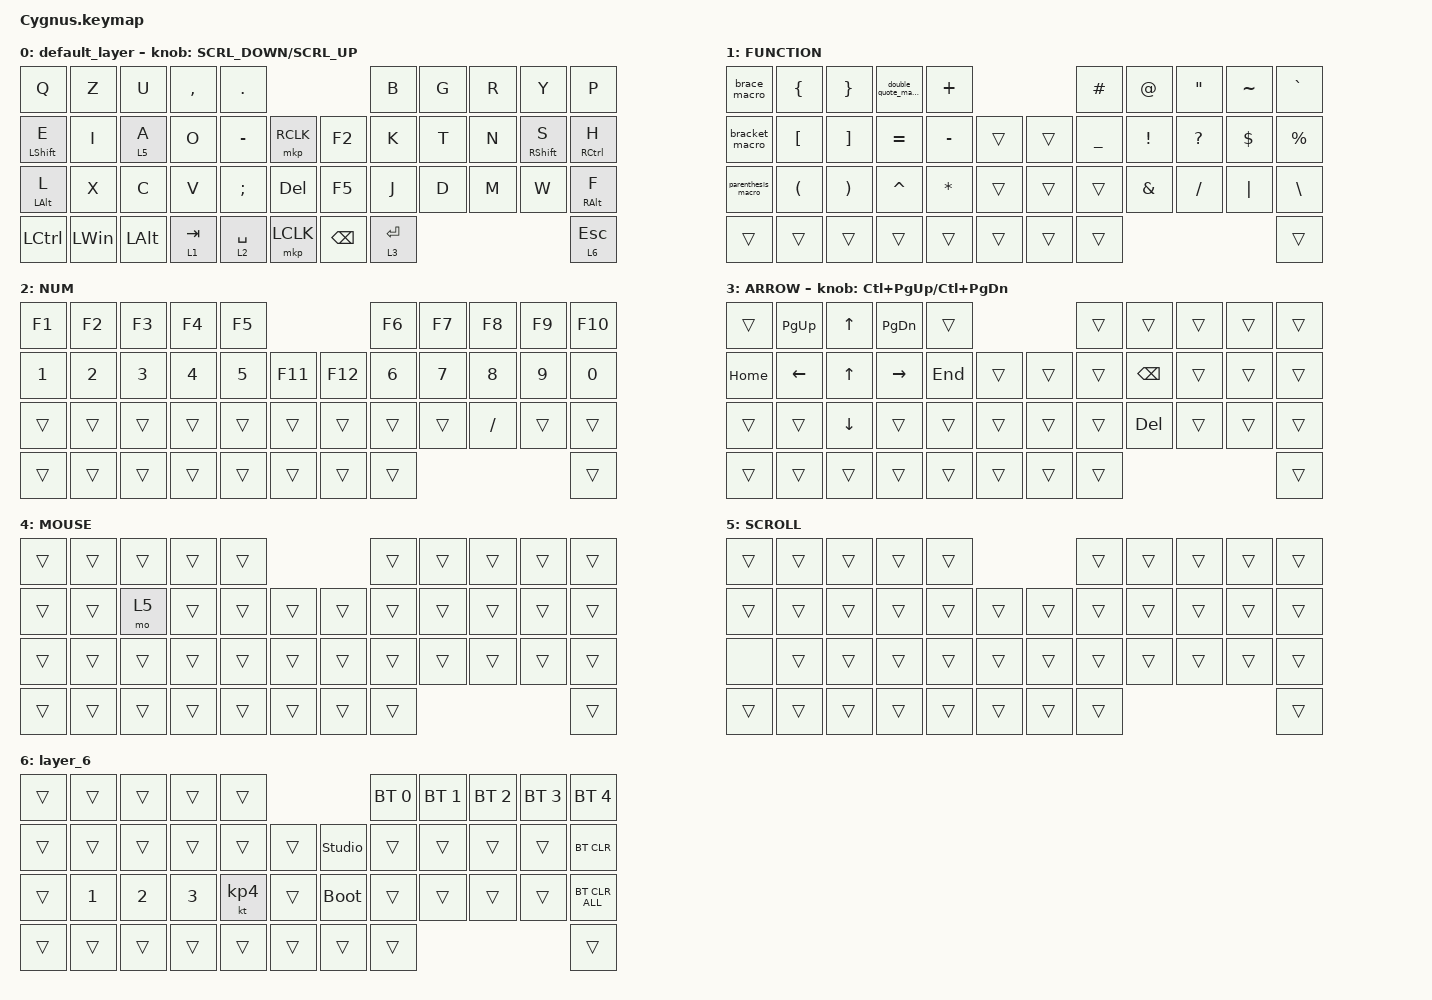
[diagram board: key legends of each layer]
#define ZMK_POINTING_DEFAULT_SCRL_VAL 120    // default: 10

#include <behaviors.dtsi>
#include <dt-bindings/zmk/bt.h>
#include <dt-bindings/zmk/keys.h>
#include <dt-bindings/zmk/pointing.h>

#define MOUSE 4
#define SCROLL 5
#define NUM 6

&mt {
    flavor = "balanced";
    quick-tap-ms = <0>;
};

/ {
    combos {
        compatible = "zmk,combos";

        screen_shot {
            bindings = <&kp LS(LG(S))>;
            key-positions = <12 13>;
        };
    };

    macros {
        to_layer_0: to_layer_0 {
            compatible = "zmk,behavior-macro-one-param";
            #binding-cells = <1>;
            bindings = <&to 0 &macro_param_1to1 &kp MACRO_PLACEHOLDER>;
            label = "TO_LAYER_0";
        };

        brace_macro: brace_macro {
            compatible = "zmk,behavior-macro";
            #binding-cells = <0>;
            bindings = <&kp LEFT_BRACE &kp RIGHT_BRACE &kp LEFT_ARROW>;
            label = "BRACE_MACRO";
        };

        bracket_macro: bracket_macro {
            compatible = "zmk,behavior-macro";
            #binding-cells = <0>;
            bindings = <&kp LEFT_BRACKET &kp RIGHT_BRACKET &kp LEFT_ARROW>;
            label = "BRACKET_MACRO";
        };

        parenthesis_macro: parenthesis_macro {
            compatible = "zmk,behavior-macro";
            #binding-cells = <0>;
            bindings = <&kp LEFT_PARENTHESIS &kp RIGHT_PARENTHESIS &kp LEFT_ARROW>;
            label = "PARENTHESIS_MACRO";
        };

        double_quote_macro: double_quote_macro {
            compatible = "zmk,behavior-macro";
            #binding-cells = <0>;
            bindings = <&kp DOUBLE_QUOTES &kp DOUBLE_QUOTES &kp LEFT_ARROW>;
            label = "DOUBLE_QUOTE_MACRO";
        };

        ime_toggle: ime_toggle {
            compatible = "zmk,behavior-macro";
            #binding-cells = <0>;
            bindings = <&kp LC(SPACE)>;
            label = "IME_TOGGLE";
        };
    };

    behaviors {
        lt_to_layer_0: lt_to_layer_0 {
            compatible = "zmk,behavior-hold-tap";
            label = "LAYER_TAP_TO_0";
            bindings = <&mo>, <&to_layer_0>;

            #binding-cells = <2>;
            tapping-term-ms = <200>;
        };

        ROTATE: ROTATE {
            compatible = "zmk,behavior-sensor-rotate-var";
            label = "ROTATE";
            #sensor-binding-cells = <2>;
            bindings = <&msc>, <&msc>;

            tap-ms = <20>;
        };
    };

    keymap {
        compatible = "zmk,keymap";

        default_layer {
            bindings = <
&kp Q             &kp Z         &kp U         &kp COMMA  &kp DOT                                      &kp B        &kp G  &kp R  &kp Y              &kp P
&mt LEFT_SHIFT E  &kp I         &lt 5 A       &kp O      &kp MINUS      &mkp RCLK      &kp F2         &kp K        &kp T  &kp N  &mt RIGHT_SHIFT S  &mt RIGHT_CONTROL H
&mt LEFT_ALT L    &kp X         &kp C         &kp V      &kp SEMICOLON  &kp DEL        &kp F5         &kp J        &kp D  &kp M  &kp W              &mt RIGHT_ALT F
&kp LCTRL         &kp LEFT_WIN  &kp LEFT_ALT  &lt 1 TAB  &lt 2 SPACE    &mkp LCLK      &kp BACKSPACE  &lt 3 ENTER                                   &lt 6 ESCAPE
            >;

            sensor-bindings = <&ROTATE SCRL_DOWN SCRL_UP>;
        };

        FUNCTION {
            bindings = <
&brace_macro        &kp LEFT_BRACE        &kp RIGHT_BRACE        &double_quote_macro  &kp PLUS                          &kp HASH        &kp AT_SIGN      &kp DOUBLE_QUOTES  &kp TILDE   &kp GRAVE
&bracket_macro      &kp LEFT_BRACKET      &kp RIGHT_BRACKET      &kp EQUAL            &kp MINUS     &trans      &trans  &kp UNDERSCORE  &kp EXCLAMATION  &kp QUESTION       &kp DOLLAR  &kp PERCENT
&parenthesis_macro  &kp LEFT_PARENTHESIS  &kp RIGHT_PARENTHESIS  &kp CARET            &kp ASTERISK  &trans      &trans  &trans          &kp AMPERSAND    &kp SLASH          &kp PIPE    &kp BACKSLASH
&trans              &trans                &trans                 &trans               &trans        &trans      &trans  &trans                                                          &trans
            >;
        };

        NUM {
            bindings = <
&kp F1        &kp F2        &kp F3        &kp F4        &kp F5                              &kp F6        &kp F7        &kp F8        &kp F9        &kp F10
&kp NUMBER_1  &kp NUMBER_2  &kp NUMBER_3  &kp NUMBER_4  &kp NUMBER_5  &kp F11      &kp F12  &kp NUMBER_6  &kp NUMBER_7  &kp NUMBER_8  &kp NUMBER_9  &kp NUMBER_0
&trans        &trans        &trans        &trans        &trans        &trans       &trans   &trans        &trans        &kp SLASH     &trans        &trans
&trans        &trans        &trans        &trans        &trans        &trans       &trans   &trans                                                  &trans
            >;
        };

        ARROW {
            bindings = <
&trans    &kp PAGE_UP     &kp UP_ARROW    &kp PAGE_DOWN    &trans                       &trans  &trans         &trans  &trans  &trans
&kp HOME  &kp LEFT_ARROW  &kp UP_ARROW    &kp RIGHT_ARROW  &kp END  &trans      &trans  &trans  &kp BACKSPACE  &trans  &trans  &trans
&trans    &trans          &kp DOWN_ARROW  &trans           &trans   &trans      &trans  &trans  &kp DEL        &trans  &trans  &trans
&trans    &trans          &trans          &trans           &trans   &trans      &trans  &trans                                 &trans
            >;

            sensor-bindings = <&inc_dec_kp LC(PAGE_UP) LC(PAGE_DOWN)>;
        };

        MOUSE {
            bindings = <
&trans  &trans  &trans  &trans  &trans                      &trans  &trans  &trans  &trans  &trans
&trans  &trans  &mo 5   &trans  &trans  &trans      &trans  &trans  &trans  &trans  &trans  &trans
&trans  &trans  &trans  &trans  &trans  &trans      &trans  &trans  &trans  &trans  &trans  &trans
&trans  &trans  &trans  &trans  &trans  &trans      &trans  &trans                          &trans
            >;
        };

        SCROLL {
            bindings = <
&trans  &trans  &trans  &trans  &trans                      &trans  &trans  &trans  &trans  &trans
&trans  &trans  &trans  &trans  &trans  &trans      &trans  &trans  &trans  &trans  &trans  &trans
&none   &trans  &trans  &trans  &trans  &trans      &trans  &trans  &trans  &trans  &trans  &trans
&trans  &trans  &trans  &trans  &trans  &trans      &trans  &trans                          &trans
            >;
        };

        layer_6 {
            bindings = <
&trans  &trans        &trans        &trans        &trans                                 &bt BT_SEL 0  &bt BT_SEL 1  &bt BT_SEL 2  &bt BT_SEL 3  &bt BT_SEL 4
&trans  &trans        &trans        &trans        &trans     &trans      &studio_unlock  &trans        &trans        &trans        &trans        &bt BT_CLR
&trans  &kp NUMBER_1  &kp NUMBER_2  &kp NUMBER_3  &kt KP_N4  &trans      &bootloader     &trans        &trans        &trans        &trans        &bt BT_CLR_ALL
&trans  &trans        &trans        &trans        &trans     &trans      &trans          &trans                                                  &trans
            >;
        };
    };
};
